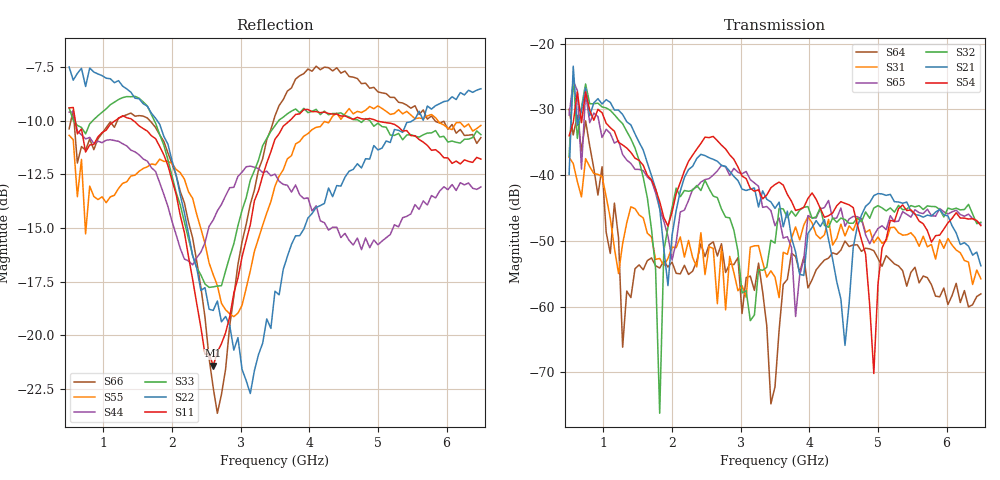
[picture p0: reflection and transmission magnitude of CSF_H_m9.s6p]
!Keysight Technologies,M9804A,MY58100912,A.14.10.03
!Date: Thursday, April 27, 2023 10:28:33
!Correction: S11(C  6-Port  )
!S12(C  6-Port  )
!S13(C  6-Port  )
!S14(C  6-Port  )
!S15(C  6-Port  )
!S16(C  6-Port  )
!S21(C  6-Port  )
!S22(C  6-Port  )
!S23(C  6-Port  )
!S24(C  6-Port  )
!S25(C  6-Port  )
!S26(C  6-Port  )
!S31(C  6-Port  )
!S32(C  6-Port  )
!S33(C  6-Port  )
!S34(C  6-Port  )
!S35(C  6-Port  )
!S36(C  6-Port  )
!S41(C  6-Port  )
!S42(C  6-Port  )
!S43(C  6-Port  )
!S44(C  6-Port  )
!S45(C  6-Port  )
!S46(C  6-Port  )
!S51(C  6-Port  )
!S52(C  6-Port  )
!S53(C  6-Port  )
!S54(C  6-Port  )
!S55(C  6-Port  )
!S56(C  6-Port  )
!S61(C  6-Port  )
!S62(C  6-Port  )
!S63(C  6-Port  )
!S64(C  6-Port  )
!S65(C  6-Port  )
!S66(C  6-Port  )
!S6P File: Measurement: :
# Hz S  RI  R 50
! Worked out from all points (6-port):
!   101 points, 500 MHz to 6.5 GHz, reference 50 ohm
!   strongest paths, dB at 500 MHz, 2 GHz, 3.5 GHz, 5 GHz, 6.5 GHz:
!     S54: -34.0, -45.6, -41.4, -56.6, -47.7
!     S21: -39.9, -49.1, -45.0, -42.8, -53.8
!     S32: -37.1, -44.9, -50.3, -44.6, -47.2
!     S65: -30.8, -52.9, -47.7, -48.1, -47.4
!     S31: -37.3, -50.9, -55.5, -49.4, -55.8
!     S64: -30.0, -53.2, -72.2, -52.6, -58.1
!   lowest |S11| = -21.4 dB at 2.6 GHz (marker M1), VSWR 1.19, Z = 42.5 + j2.18 ohm
!   |S11| at or under -10 dB: 589.7 MHz to 1.174 GHz (583.8 MHz wide, 66.2 % of centre); 1.435 GHz to 3.715 GHz (2.281 GHz wide, 88.6 % of centre); 4.974 GHz to end of sweep
